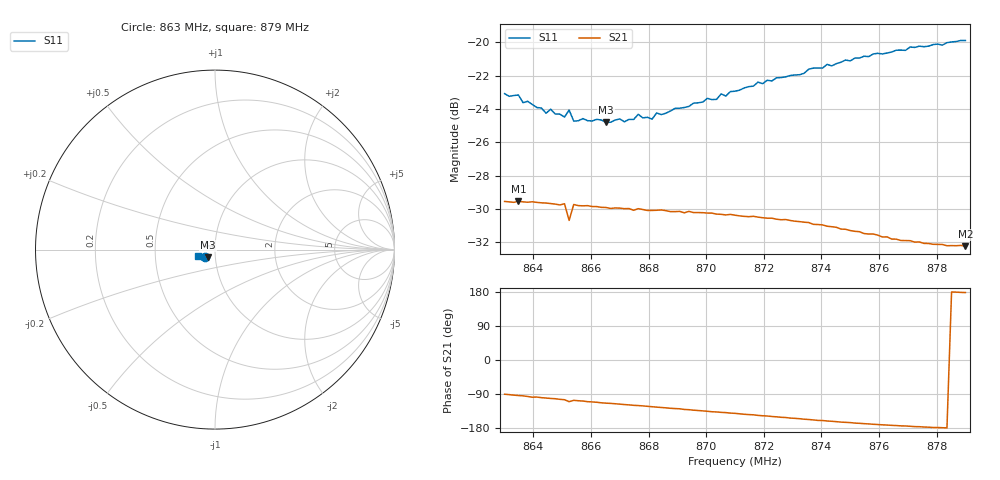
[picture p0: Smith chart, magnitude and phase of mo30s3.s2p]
# HZ S RI R 50
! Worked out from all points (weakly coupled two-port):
!   101 points, 863 MHz to 879 MHz, reference 50 ohm
!   highest |S21| = -29.55 dB at 863.48 MHz (marker M1); lowest = -32.2 dB at 879 MHz (marker M2)
!   lowest |S11| = -24.8 dB at 866.52 MHz (marker M3), VSWR 1.12, Z = 46.1 - j3.92 ohm
!   |S11| at or under -10 dB: start of sweep to end of sweep
!   S12 and S22 are empty: the file has one direction only
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8.63e8  -0.0568 -0.0411  -0.000181 -0.0333  0 0  0 0
8.6348e8  -0.0556 -0.0416  -0.00219 -0.0332  0 0  0 0
8.6364e8  -0.0522 -0.0401  -0.00264 -0.0331  0 0  0 0
8.638e8  -0.0528 -0.0404  -0.00361 -0.0329  0 0  0 0
8.6444e8  -0.0476 -0.0385  -0.00592 -0.0324  0 0  0 0
8.646e8  -0.0483 -0.0404  -0.00652 -0.0321  0 0  0 0
8.6508e8  -0.0441 -0.0401  -0.00836 -0.0317  0 0  0 0
8.6524e8  -0.0476 -0.0407  -0.00996 -0.0274  0 0  0 0
8.654e8  -0.0425 -0.0394  -0.00922 -0.0313  0 0  0 0
8.6572e8  -0.0424 -0.041  -0.0101 -0.0307  0 0  0 0
8.6652e8  -0.0388 -0.0424  -0.0129 -0.0292  0 0  0 0
8.67e8  -0.0388 -0.0443  -0.0142 -0.0284  0 0  0 0
8.6716e8  -0.0374 -0.0439  -0.0147 -0.0281  0 0  0 0
8.6748e8  -0.0371 -0.0454  -0.0155 -0.0272  0 0  0 0
8.6764e8  -0.0387 -0.0468  -0.0159 -0.0274  0 0  0 0
8.6812e8  -0.0364 -0.0461  -0.0172 -0.0261  0 0  0 0
8.6828e8  -0.0372 -0.0488  -0.0177 -0.0259  0 0  0 0
8.6844e8  -0.0367 -0.0483  -0.0181 -0.0256  0 0  0 0
8.71e8  -0.0432 -0.0567  -0.0234 -0.0191  0 0  0 0
8.7372e8  -0.0573 -0.0609  -0.0264 -0.0106  0 0  0 0
8.7644e8  -0.077 -0.0528  -0.0254 -0.00336  0 0  0 0
8.79e8  -0.094 -0.0375  -0.0244 0.000845  0 0  0 0
